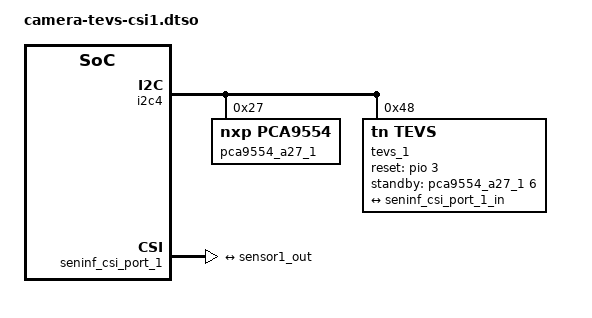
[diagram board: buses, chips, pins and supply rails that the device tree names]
// SPDX-License-Identifier: GPL-2.0
/*
 * Copyright (c) 2024 Ezurio LLC
 *
 */

#include <dt-bindings/gpio/gpio.h>
#include <dt-bindings/pinctrl/mediatek,mt8188-pinfunc.h>

/dts-v1/;
/plugin/;

/ {
	fragment@0 {
		target = <&pio>;
		__overlay__ {
			camera_pins_cam1_rst: cam1-rst {
				pins_cmd_dat {
					pinmux = <PINMUX_GPIO3__FUNC_B_GPIO3>;
					output-low;
				};
			};
		};
	};

	fragment@1 {
		target = <&i2c4>;
		__overlay__ {
			#address-cells = <1>;
			#size-cells = <0>;

			pca9554_a27_1: pca9554@27 {
				compatible = "nxp,pca9554";
				pinctrl-names = "default";
				reg = <0x27>;
				gpio-controller;
				#gpio-cells = <2>;
				status = "okay";
				gpio-line-names = "EXPOSURE_TRIG_IN1", "FLASH_OUT1",
						"CAM_SHUTTER1", "XVS1",	"CSI1_PDB",
						"CSI1_INT", "INFO_TRIG_IN1", "CSI1_RST_N";
			};

			tevs_1: camera@48 {
				compatible = "tn,tevs";
				reg = <0x48>;
				pinctrl-names = "default";
				pinctrl-0 = <&camera_pins_cam1_rst>;
				reset-gpios = <&pio 3 GPIO_ACTIVE_HIGH>;
				standby-gpios = <&pca9554_a27_1 6 GPIO_ACTIVE_HIGH>;
				data-lanes = <4>;
				data-frequency = <800>;
				continuous-clock = <0>;
				status = "okay";

				port {
					sensor1_out: endpoint {
						remote-endpoint = <&seninf_csi_port_1_in>;
					};
				};
			};
		};
	};

	fragment@2 {
		target = <&seninf_top>;
		__overlay__ {
			seninf_csi_port_1: seninf-csi-port-1 {
				compatible = "mediatek,seninf";
				csi-port = "1";
				hs_trail_parameter = <0x0>;

				port {
					seninf_csi_port_1_in: endpoint {
						remote-endpoint = <&sensor1_out>;
						data-lanes = <1 2 3 4>;
					};
				};
			};
		};
	};
};
